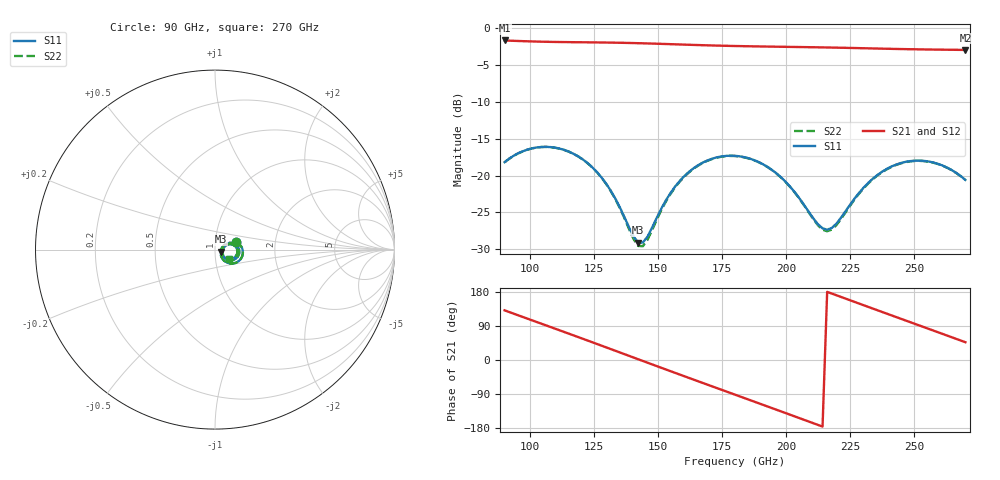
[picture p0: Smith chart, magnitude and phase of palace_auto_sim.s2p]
#  GHZ S DB R 50
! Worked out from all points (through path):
!   101 points, 90 GHz to 270 GHz, reference 50 ohm
!   highest |S21| = -1.64 dB at 90 GHz (marker M1); lowest = -2.9 dB at 270 GHz (marker M2)
!   group delay of S21, straight-line fit = 6.86 ps
!   lowest |S11| = -29.1 dB at 142.2 GHz (marker M3), VSWR 1.07, Z = 53.4 - j1.19 ohm
!   |S11| at or under -10 dB: start of sweep to end of sweep
!   |S22| runs from -29.6 to -16.1 dB; largest |S21 - S12| = 8.9e-14
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90  -18.18 20.5  -1.64 131.0  -1.64 131.0  -18.20 20.4
99  -16.47 4.0  -1.75 108.9  -1.75 108.9  -16.47 3.8
106.2  -16.10 -9.9  -1.82 91.3  -1.82 91.3  -16.11 -10.1
113.4  -16.53 -23.7  -1.86 73.7  -1.86 73.7  -16.54 -24.0
120.6  -17.83 -36.6  -1.89 55.9  -1.89 55.9  -17.84 -37.2
131.4  -22.03 -49.8  -1.93 29.0  -1.93 29.0  -22.07 -51.0
142.2  -29.12 -18.5  -2.01 2.0  -2.01 2.0  -29.57 -19.6
145.8  -28.31 8.5  -2.04 -7.0  -2.04 -7.0  -28.75 9.3
151.2  -24.51 25.5  -2.10 -20.5  -2.10 -20.5  -24.71 26.9
158.4  -20.74 23.7  -2.18 -38.4  -2.18 -38.4  -20.84 24.7
165.6  -18.60 14.0  -2.27 -56.1  -2.27 -56.1  -18.65 14.7
172.8  -17.54 2.0  -2.34 -73.8  -2.34 -73.8  -17.58 2.6
180  -17.32 -10.5  -2.39 -91.5  -2.39 -91.5  -17.35 -10.0
194.4  -19.23 -32.9  -2.48 -126.8  -2.48 -126.8  -19.25 -32.7
203.4  -22.30 -39.9  -2.52 -149.0  -2.52 -149.0  -22.34 -40.0
210.6  -25.83 -31.4  -2.56 -166.8  -2.56 -166.8  -25.94 -31.8
214.2  -27.18 -17.4  -2.58 -175.7  -2.58 -175.7  -27.36 -17.6
217.8  -27.13 0.4  -2.61 175.4  -2.61 175.4  -27.35 0.7
228.6  -22.30 21.2  -2.68 148.6  -2.68 148.6  -22.41 22.2
241.2  -18.77 8.6  -2.78 117.6  -2.78 117.6  -18.82 9.4
255.6  -18.09 -14.3  -2.87 82.3  -2.87 82.3  -18.12 -13.5
270  -20.60 -34.1  -2.93 46.9  -2.93 46.9  -20.61 -33.1
